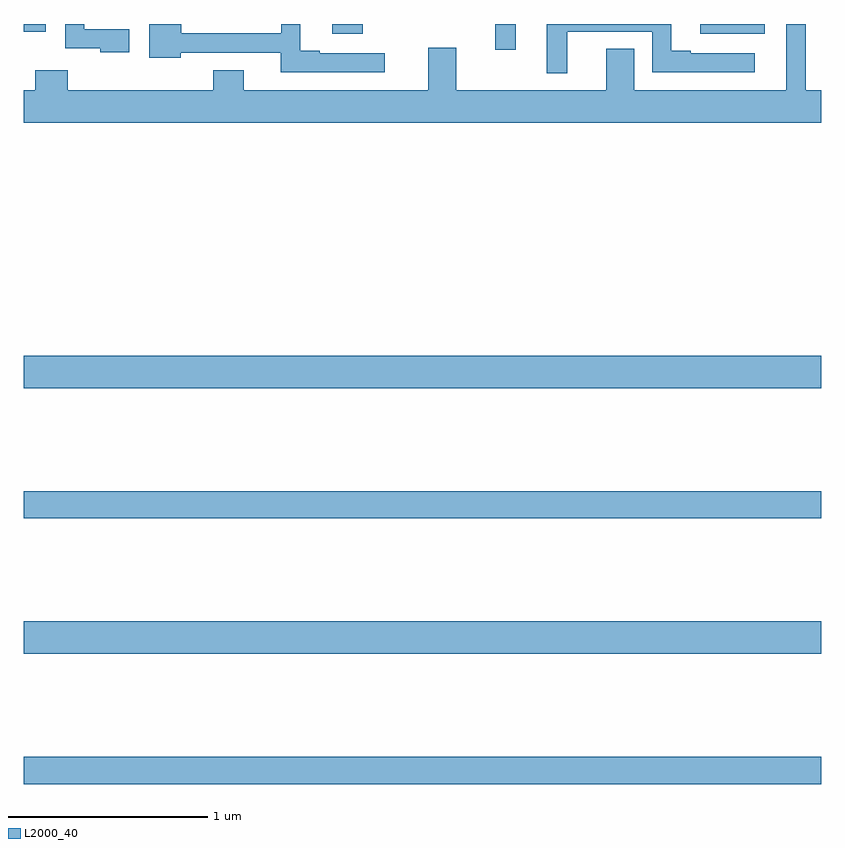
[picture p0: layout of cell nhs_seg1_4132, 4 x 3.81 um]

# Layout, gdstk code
import gdstk
lib = gdstk.Library(unit=1e-6, precision=1e-09)
def R(c, l, rs):  # rectangles x0, y0, x1, y1
    for r in rs: c.add(gdstk.rectangle(r[:2], r[2:], *l))
def P(c, l, *ps):  # polygons
    for p in ps: c.add(gdstk.Polygon(p, *l))
L2000_40 = (2000, 40)

nhs_seg1_4132 = lib.new_cell('nhs_seg1_4132')
R(nhs_seg1_4132, L2000_40, [(335,576.388,339,576.524), (335,577.04,339,577.204), (335,577.72,339,577.856), (335,578.372,339,578.536), (337.364,580.071,337.468,580.199), (336.548,580.149,336.701,580.199), (338.394,580.149,338.715,580.199), (335,580.161,335.11,580.199)])
P(nhs_seg1_4132, L2000_40, [(337.726,580.161),(338.151,580.161),(338.151,579.957),(338.665,579.957),(338.665,580.053),(338.344,580.053),(338.344,580.066),(338.248,580.066),(338.248,580.199),(337.622,580.199),(337.622,579.953),(337.726,579.953)],
  [(336.811,580.053),(336.484,580.053),(336.484,580.066),(336.388,580.066),(336.388,580.199),(336.291,580.199),(336.291,580.152),(335.791,580.152),(335.791,580.199),(335.631,580.199),(335.631,580.031),(335.787,580.031),(335.787,580.056),(336.29,580.056),(336.29,579.957),(336.811,579.957)],
  [(339,579.868),(338.922,579.868),(338.922,580.199),(338.825,580.199),(338.825,579.868),(338.062,579.868),(338.062,580.076),(337.922,580.076),(337.922,579.868),(337.168,579.868),(337.168,580.081),(337.028,580.081),(337.028,579.868),(336.103,579.868),(336.103,579.967),(335.951,579.967),(335.951,579.868),(335.222,579.868),(335.222,579.967),(335.057,579.967),(335.057,579.868),(335,579.868),(335,579.704),(339,579.704)],
  [(335.53,580.173),(335.304,580.173),(335.304,580.199),(335.208,580.199),(335.208,580.077),(335.385,580.077),(335.385,580.058),(335.53,580.058)])

lib.write_gds('nhs_seg1_4132.gds')
